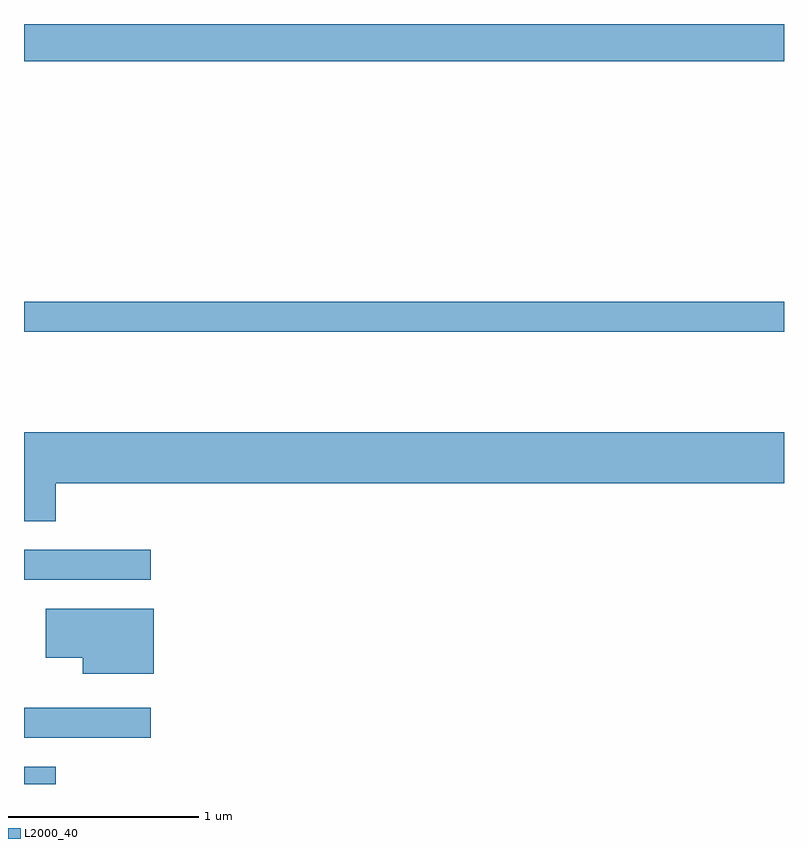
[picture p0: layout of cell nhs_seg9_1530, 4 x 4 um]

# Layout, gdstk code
import gdstk
lib = gdstk.Library(unit=1e-6, precision=1e-09)
def R(c, l, rs):  # rectangles x0, y0, x1, y1
    for r in rs: c.add(gdstk.rectangle(r[:2], r[2:], *l))
def P(c, l, *ps):  # polygons
    for p in ps: c.add(gdstk.Polygon(p, *l))
L2000_40 = (2000, 40)

nhs_seg9_1530 = lib.new_cell('nhs_seg9_1530')
R(nhs_seg9_1530, L2000_40, [(229.611,2012.432,229.779,2012.524), (229.611,2012.676,230.278,2012.834), (229.611,2013.506,230.278,2013.664), (229.611,2014.811,233.611,2014.969), (229.611,2016.236,233.611,2016.432)])
P(nhs_seg9_1530, L2000_40, [(229.779,2014.016),(233.611,2014.016),(233.611,2014.284),(229.611,2014.284),(229.611,2013.816),(229.779,2013.816)],
  [(230.294,2013.354),(229.726,2013.354),(229.726,2013.096),(229.921,2013.096),(229.921,2013.011),(230.294,2013.011)])

lib.write_gds('nhs_seg9_1530.gds')
